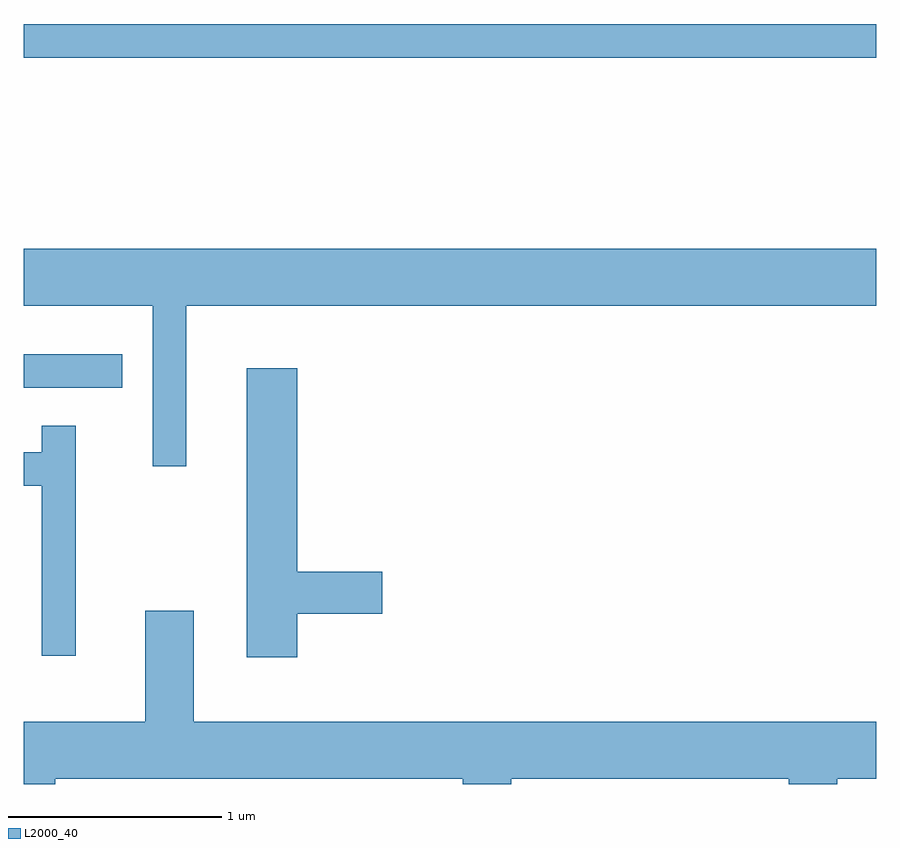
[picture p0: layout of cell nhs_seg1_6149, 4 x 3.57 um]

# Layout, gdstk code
import gdstk
lib = gdstk.Library(unit=1e-6, precision=1e-09)
def R(c, l, rs):  # rectangles x0, y0, x1, y1
    for r in rs: c.add(gdstk.rectangle(r[:2], r[2:], *l))
def P(c, l, *ps):  # polygons
    for p in ps: c.add(gdstk.Polygon(p, *l))
L2000_40 = (2000, 40)

nhs_seg1_6149 = lib.new_cell('nhs_seg1_6149')
R(nhs_seg1_6149, L2000_40, [(369.611,963.571,370.073,963.729), (369.611,965.121,373.611,965.279)])
P(nhs_seg1_6149, L2000_40, [(370.374,963.956),(373.611,963.956),(373.611,964.224),(369.611,964.224),(369.611,963.956),(370.216,963.956),(370.216,963.203),(370.374,963.203)],
  [(370.894,962.511),(371.294,962.511),(371.294,962.709),(370.894,962.709),(370.894,963.664),(370.656,963.664),(370.656,962.306),(370.894,962.306)],
  [(369.854,963.393),(369.696,963.393),(369.696,963.269),(369.611,963.269),(369.611,963.111),(369.696,963.111),(369.696,962.313),(369.854,962.313)],
  [(369.759,961.736),(371.671,961.736),(371.671,961.712),(371.899,961.712),(371.899,961.736),(373.201,961.736),(373.201,961.712),(373.429,961.712),(373.429,961.736),(373.611,961.736),(373.611,962.004),(370.409,962.004),(370.409,962.524),(370.181,962.524),(370.181,962.004),(369.611,962.004),(369.611,961.712),(369.759,961.712)])

lib.write_gds('nhs_seg1_6149.gds')
